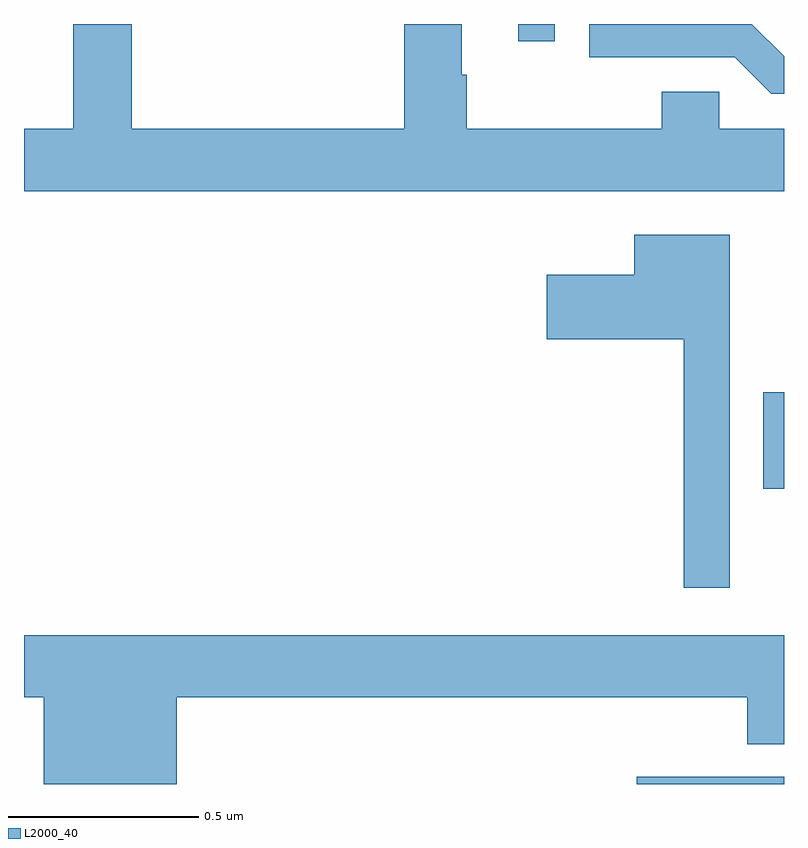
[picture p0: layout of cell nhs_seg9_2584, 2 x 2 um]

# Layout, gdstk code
import gdstk
lib = gdstk.Library(unit=1e-6, precision=1e-09)
def R(c, l, rs):  # rectangles x0, y0, x1, y1
    for r in rs: c.add(gdstk.rectangle(r[:2], r[2:], *l))
def P(c, l, *ps):  # polygons
    for p in ps: c.add(gdstk.Polygon(p, *l))
L2000_40 = (2000, 40)

nhs_seg9_2584 = lib.new_cell('nhs_seg9_2584')
R(nhs_seg9_2584, L2000_40, [(143.613,1221.5,144,1221.519), (143.945,1222.277,144,1222.531), (143.3,1223.454,143.397,1223.5)])
P(nhs_seg9_2584, L2000_40, [(144,1223.224),(143.829,1223.224),(143.829,1223.322),(143.678,1223.322),(143.678,1223.224),(143.165,1223.224),(143.165,1223.366),(143.152,1223.366),(143.152,1223.5),(143,1223.5),(143,1223.224),(142.283,1223.224),(142.283,1223.5),(142.13,1223.5),(142.13,1223.224),(142,1223.224),(142,1223.06),(144,1223.06)],
  [(144,1223.415),(143.915,1223.5),(143.487,1223.5),(143.487,1223.412),(143.871,1223.412),(143.967,1223.316),(144,1223.316)],
  [(143.857,1222.945),(143.606,1222.945),(143.606,1222.84),(143.376,1222.84),(143.376,1222.67),(143.736,1222.67),(143.736,1222.017),(143.857,1222.017)],
  [(142.402,1221.728),(143.903,1221.728),(143.903,1221.604),(144,1221.604),(144,1221.892),(142,1221.892),(142,1221.728),(142.052,1221.728),(142.052,1221.5),(142.402,1221.5)])

lib.write_gds('nhs_seg9_2584.gds')
